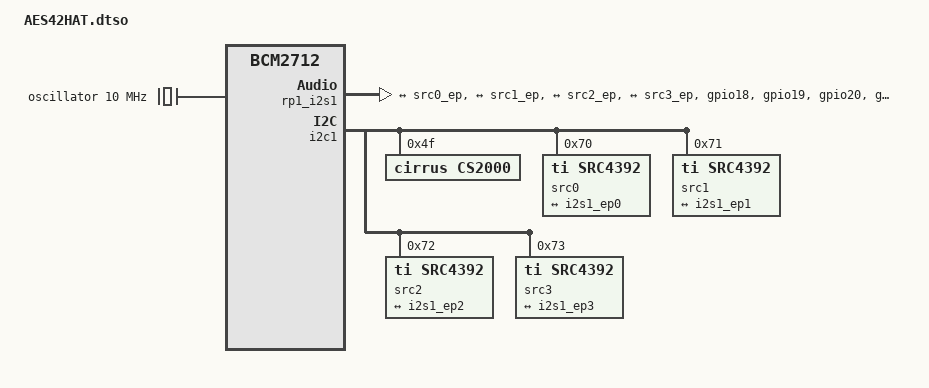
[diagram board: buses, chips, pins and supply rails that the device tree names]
/dts-v1/;
/plugin/;

/ {
    compatible = "brcm,bcm2712";

    fragment@0 {
        target = <&rp1_i2s1>;
        __overlay__ {
            status = "okay";
            pinctrl-names = "default";
            pinctrl-0 = <&rp1_i2s1_8ch>;
            #sound-dai-cells = <0>;            
            #address-cells = <1>;
            #size-cells = <0>;

            i2s1_port0: port@0 {
                reg = <0>;
                i2s1_ep0: endpoint {
                    remote-endpoint = <&src0_ep>;
                    dai-format = "i2s";
                    dai-tdm-slot-num = <2>;
                    dai-tdm-slot-width = <32>;
                };
            };

            i2s1_port1: port@1 {
                reg = <1>;
                i2s1_ep1: endpoint {
                    remote-endpoint = <&src1_ep>;
                    dai-format = "i2s";
                    dai-tdm-slot-num = <2>;
                    dai-tdm-slot-width = <32>;
                };
            };

            i2s1_port2: port@2 {
                reg = <2>;
                i2s1_ep2: endpoint {
                    remote-endpoint = <&src2_ep>;
                    dai-format = "i2s";
                    dai-tdm-slot-num = <2>;
                    dai-tdm-slot-width = <32>;
                };
            };

            i2s1_port3: port@3 {
                reg = <3>;
                i2s1_ep3: endpoint {
                    remote-endpoint = <&src3_ep>;
                    dai-format = "i2s";
                    dai-tdm-slot-num = <2>;
                    dai-tdm-slot-width = <32>;
                };
            };
        };
    };

    fragment@1 {
        target = <&i2c1>;
        __overlay__ {
            #address-cells = <1>;
            #size-cells = <0>;

            cs2000: cs2000@4f {
                #clock-cells = <1>;
                compatible = "cirrus,cs2000";
                status = "okay";
                reg = <0x4f>;
                clocks = <&oscillator>; // if CS2000 is driven by a crystal
                clock-output-names = "cs2000-mclk";
            };

            src0: src4392@70 {
                #address-cells = <1>;
                #size-cells = <0>;
                #sound-dai-cells = <0>;
                compatible = "ti,src4392";
                status = "okay";
                reg = <0x70>;
                clocks = <&cs2000 0>;
                clock-names = "mclk";

                src0_port: port@0 {
                    reg = <0>;
                    src0_ep: endpoint {
                        remote-endpoint = <&i2s1_ep0>;
                        dai-name = "src4xxx-portA";
                        dai-format = "i2s";
                        dai-tdm-slot-num = <2>;
                        dai-tdm-slot-width = <32>;
                        bitclock-master;
                        frame-master;
                    };
                };
            };

            src1: src4392@71 {
                #address-cells = <1>;
                #size-cells = <0>;
                #sound-dai-cells = <0>;
                compatible = "ti,src4392";
                status = "okay";
                reg = <0x71>;
                clocks = <&cs2000 0>;
                clock-names = "mclk";

                src1_port: port@0 {
                    reg = <0>;
                    src1_ep: endpoint {
                        remote-endpoint = <&i2s1_ep1>;
                        dai-name = "src4xxx-portA";
                        dai-format = "i2s";
                        dai-tdm-slot-num = <2>;
                        dai-tdm-slot-width = <32>;
                    };
                };
            };

            src2: src4392@72 {
                #address-cells = <1>;
                #size-cells = <0>;
                #sound-dai-cells = <0>;
                compatible = "ti,src4392";
                status = "okay";
                reg = <0x72>;
                clocks = <&cs2000 0>;
                clock-names = "mclk";

                src2_port: port@0 {
                    reg = <0>;
                    src2_ep: endpoint {
                        remote-endpoint = <&i2s1_ep2>;
                        dai-name = "src4xxx-portA";
                        dai-format = "i2s";
                        dai-tdm-slot-num = <2>;
                        dai-tdm-slot-width = <32>;
                    };
                };
            };

            src3: src4392@73 {
                #address-cells = <1>;
                #size-cells = <0>;
                #sound-dai-cells = <0>;
                compatible = "ti,src4392";
                status = "okay";
                reg = <0x73>;
                clocks = <&cs2000 0>;
                clock-names = "mclk";

                src3_port: port@0 {
                    reg = <0>;
                    src3_ep: endpoint {
                        remote-endpoint = <&i2s1_ep3>;
                        dai-name = "src4xxx-portA";
                        dai-format = "i2s";
                        dai-tdm-slot-num = <2>;
                        dai-tdm-slot-width = <32>;
                    };
                };
            };
        };
    };

    fragment@2 {
        target-path = "/";
        __overlay__ {
            rp1_i2s1_8ch: rp1_i2s1_8ch {
                function = "i2s1";
                // I2S1_SCLK, I2S1_WS, I2S1_SDI[0], I2S1_SDI[1], I2S1_SDI[2], I2S1_SDI[3], I2S1_SDO[0], I2S1_SDO[1], I2S1_SDO[2], I2S1_SDO[3]
                pins = "gpio18", "gpio19", "gpio20", "gpio22", "gpio24", "gpio26", "gpio21", "gpio23", "gpio25",  "gpio27";
                bias-disable;
            };

            oscillator: oscillator {
                compatible = "fixed-clock";
                status = "okay";
                #clock-cells = <0>;
                clock-frequency = <10000000>; // 10 MHz
                clock-output-names = "cs2000-ref";
            };

            sound {
                compatible = "audio-graph-card";
                label = "Pi5 Audio Graph";
                dais = <&i2s1_port0 &i2s1_port1 &i2s1_port2 &i2s1_port3
                        &src0_port &src1_port &src2_port &src3_port>;
            };
        };
    };
};
